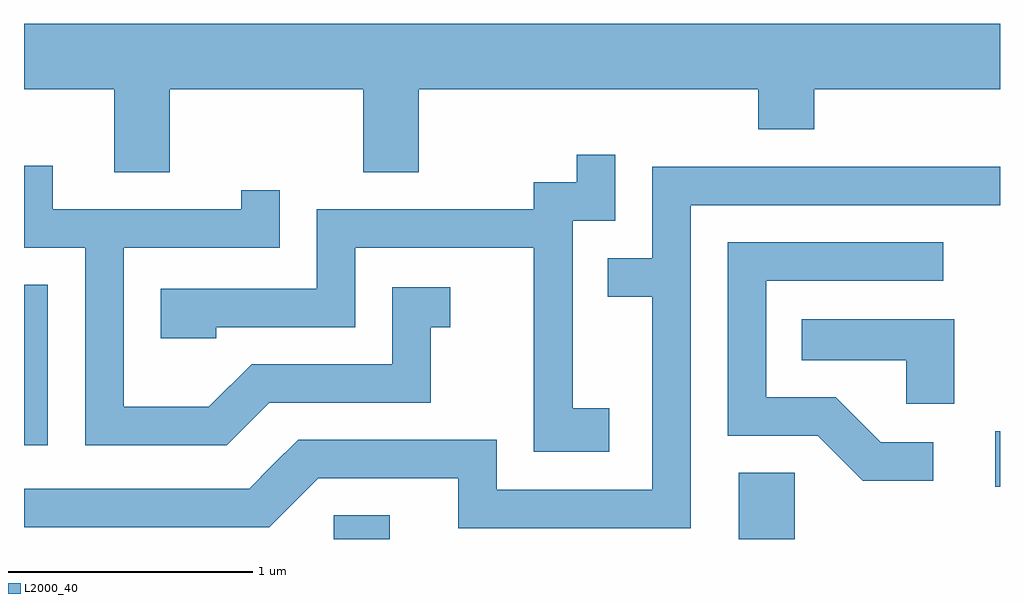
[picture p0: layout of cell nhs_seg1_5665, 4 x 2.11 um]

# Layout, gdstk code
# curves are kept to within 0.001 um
import gdstk
lib = gdstk.Library(unit=1e-6, precision=1e-09)
def R(c, l, rs):  # rectangles x0, y0, x1, y1
    for r in rs: c.add(gdstk.rectangle(r[:2], r[2:], *l))
def P(c, l, *ps):  # polygons
    for p in ps: c.add(gdstk.Polygon(p, *l))
L2000_40 = (2000, 40)

nhs_seg1_5665 = lib.new_cell('nhs_seg1_5665')
R(nhs_seg1_5665, L2000_40, [(356.881,917.712,357.109,917.809), (358.541,917.712,358.769,917.984), (359.591,917.926,359.611,918.154), (355.611,918.096,355.709,918.754)])
P(nhs_seg1_5665, L2000_40, [(356.209,919.556),(357.001,919.556),(357.001,919.216),(357.229,919.216),(357.229,919.556),(358.621,919.556),(358.621,919.391),(358.849,919.391),(358.849,919.556),(359.611,919.556),(359.611,919.824),(355.611,919.824),(355.611,919.556),(355.981,919.556),(355.981,919.216),(356.209,919.216)],
  [(358.009,918.249),(357.859,918.249),(357.859,919.016),(358.034,919.016),(358.034,919.288),(357.876,919.288),(357.876,919.174),(357.701,919.174),(357.701,919.064),(356.811,919.064),(356.811,918.739),(356.171,918.739),(356.171,918.536),(356.399,918.536),(356.399,918.581),(356.969,918.581),(356.969,918.906),(357.701,918.906),(357.701,918.071),(358.009,918.071)],
  [(356.617,918.271),(357.279,918.271),(357.279,918.581),(357.358,918.581),(357.358,918.744),(357.121,918.744),(357.121,918.429),(356.544,918.429),(356.369,918.254),(356.019,918.254),(356.019,918.906),(356.659,918.906),(356.659,919.143),(356.501,919.143),(356.501,919.064),(355.729,919.064),(355.729,919.243),(355.611,919.243),(355.611,918.906),(355.861,918.906),(355.861,918.096),(356.442,918.096)],
  [(358.344,919.081),(359.611,919.081),(359.611,919.239),(358.186,919.239),(358.186,918.864),(358.003,918.864),(358.003,918.706),(358.186,918.706),(358.186,917.914),(357.549,917.914),(357.549,918.119),(356.734,918.119),(356.534,917.919),(355.611,917.919),(355.611,917.761),(356.617,917.761),(356.817,917.961),(357.391,917.961),(357.391,917.756),(358.344,917.756)],
  [(359.338,918.109),(359.122,918.109),(358.937,918.294),(358.654,918.294),(358.654,918.771),(359.378,918.771),(359.378,918.929),(358.496,918.929),(358.496,918.136),(358.864,918.136),(359.049,917.951),(359.338,917.951)],
  [(359.424,918.614),(358.798,918.614),(358.798,918.446),(359.226,918.446),(359.226,918.266),(359.424,918.266)])

lib.write_gds('nhs_seg1_5665.gds')
